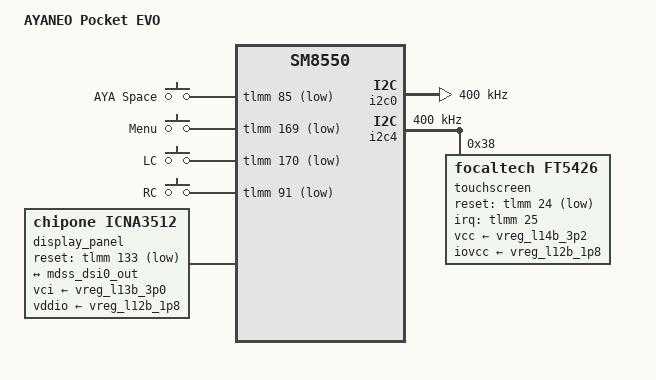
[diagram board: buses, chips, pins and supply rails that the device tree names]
// SPDX-License-Identifier: BSD-3-Clause
/*
 * Copyright (c) 2025, Teguh Sobirin.
 * Copyright (c) 2025, ROCKNIX (https://github.com/ROCKNIX)
 */

/dts-v1/;

#include "qcs8550-ayaneo-pocket-common.dtsi"

/ {
	model = "AYANEO Pocket EVO";
	qcom,board-id = <0x1000b 0x01>;
	qcom,msm-id = <0x258 0x20000>, <0x259 0x20000>;
	compatible = "ayaneo,pocketevo", "qcom,qcs8550", "qcom,sm8550";
	rocknix-u-boot-dt-id = "u-boot-pocket-evo";

	/*
	 * AYA SPACE, =, LC and RC hang off SoC GPIOs rather than the
	 * controller MCU. Kept separate from the gpio-keys node in the
	 * common dtsi because InputPlumber grabs the source devices it
	 * manages, and sharing that node would swallow volume up.
	 *
	 * F13-F16 rather than the vendor's KEY_A/KEY_EQUAL/KEY_LEFT/
	 * KEY_RIGHTSHIFT: those type real characters, so they would leak
	 * into whatever has focus whenever InputPlumber is not grabbing
	 * the node. The label is what InputPlumber matches on.
	 */
	aya-keys {
		compatible = "gpio-keys";
		label = "aya-keys";

		pinctrl-0 = <&aya_keys_default>;
		pinctrl-names = "default";

		key-aya-space {
			label = "AYA Space";
			debounce-interval = <15>;
			gpios = <&tlmm 85 GPIO_ACTIVE_LOW>;
			linux,code = <KEY_F13>;
			wakeup-source;
		};

		key-menu {
			label = "Menu";
			debounce-interval = <15>;
			gpios = <&tlmm 169 GPIO_ACTIVE_LOW>;
			linux,code = <KEY_F14>;
			wakeup-source;
		};

		/* Silkscreen LC; the vendor device tree calls this rc2_key. */
		key-lc {
			label = "LC";
			debounce-interval = <15>;
			gpios = <&tlmm 170 GPIO_ACTIVE_LOW>;
			linux,code = <KEY_F15>;
			wakeup-source;
		};

		/* Silkscreen RC; the vendor device tree calls this lc_key. */
		key-rc {
			label = "RC";
			debounce-interval = <15>;
			gpios = <&tlmm 91 GPIO_ACTIVE_LOW>;
			linux,code = <KEY_F16>;
			wakeup-source;
		};
	};
};

&tlmm {
	/*
	 * The buttons short to ground, so without the pull-up these read low
	 * pressed and unpressed alike and no press is detectable.
	 */
	aya_keys_default: aya-keys-default-state {
		pins = "gpio85", "gpio91", "gpio169", "gpio170";
		function = "gpio";
		drive-strength = <2>;
		bias-pull-up;
	};

	panel_pwr_active: panel-pwr-active-state {
		pins = "gpio152", "gpio153";
		function = "gpio";
		drive-strength = <8>;
		bias-disable;
		output-high;
	};

	ts_reset_active: ts-reset-active-state {
		pins = "gpio24";
		function = "gpio";
		drive-strength = <8>;
		bias-pull-up;
	};

	ts_reset_suspend: ts-reset-suspend-state {
		pins = "gpio24";
		function = "gpio";
		drive-strength = <2>;
		bias-pull-down;
	};

	ts_int_active: ts-int-default-state {
		pins = "gpio25";
		function = "gpio";
		bias-pull-up;
		drive-strength = <8>;
	};

	ts_int_suspend: ts-int-sleep-state {
		pins = "gpio25";
		function = "gpio";
		bias-pull-down;
		drive-strength = <2>;
	};
};

&i2c0 {
	clock-frequency = <400000>;
	status = "okay";

};

&i2c4 {
	clock-frequency = <400000>;
	status = "okay";
	touchscreen: touchscreen@38 {
		compatible = "focaltech,ft5426";
		reg = <0x38>;
		#address-cells = <1>;
		#size-cells = <0>;

		interrupt-parent = <&tlmm>;
		interrupts = <25 IRQ_TYPE_EDGE_FALLING>;

		reset-gpios = <&tlmm 24 GPIO_ACTIVE_LOW>;

		vcc-supply = <&vreg_l14b_3p2>;
		iovcc-supply = <&vreg_l12b_1p8>;

		pinctrl-0 = <&ts_int_active &ts_reset_active>;
		pinctrl-1 = <&ts_int_suspend &ts_reset_suspend>;
		pinctrl-names = "default", "sleep";

		touchscreen-size-x = <1080>;
		touchscreen-size-y = <1920>;
	};
};

&mdss_dsi0_out {
	remote-endpoint = <&panel0_in>;
	data-lanes = <0 1 2 3>;
};

&display_panel {
	compatible = "chipone,icna3512";

	vci-supply = <&vreg_l13b_3p0>;
	vddio-supply = <&vreg_l12b_1p8>;

	reset-gpios = <&tlmm 133 GPIO_ACTIVE_LOW>;

	rotation = <270>;

	port {
		panel0_in: endpoint {
			remote-endpoint = <&mdss_dsi0_out>;
		};
	};
};
